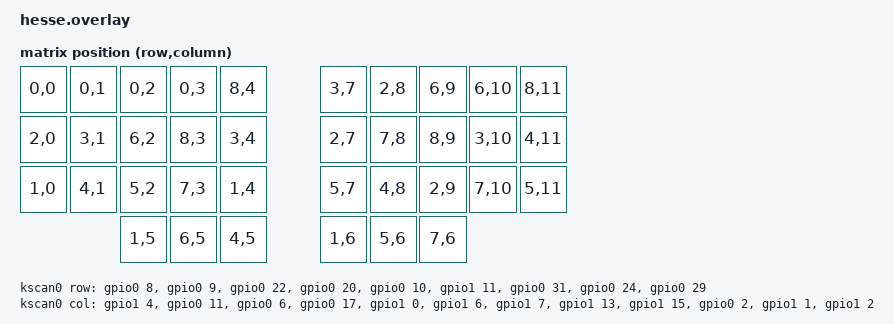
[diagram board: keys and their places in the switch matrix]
/*
 * Copyright (c) 2020 The ZMK Contributors
 *
 * SPDX-License-Identifier: MIT
 */

#include <dt-bindings/zmk/matrix_transform.h>
#include <physical_layouts.dtsi>
#include "hesse-layouts.dtsi"


/* The promicro aliases only cover D0 to D21, not the three extra pins in the middle
 *
 * Those are P1.01, P1.02, and P1.07 - referenced here via their &gpio1 names.
 */
/ {
    kscan0: kscan0 {
        compatible = "zmk,kscan-gpio-matrix";
        diode-direction = "col2row";
        wakeup-source;

        col-gpios
            = <&gpio1 4 GPIO_OPEN_SOURCE>
            , <&gpio0 11 GPIO_OPEN_SOURCE>
            , <&gpio0 6 GPIO_OPEN_SOURCE>
            , <&gpio0 17 GPIO_OPEN_SOURCE>
            , <&gpio1 0 GPIO_OPEN_SOURCE>
            , <&gpio1 6 GPIO_OPEN_SOURCE>
            , <&gpio1 7 GPIO_OPEN_SOURCE>
            , <&gpio1 13 GPIO_OPEN_SOURCE>
            , <&gpio1 15 GPIO_OPEN_SOURCE>
            , <&gpio0 2 GPIO_OPEN_SOURCE>
            , <&gpio1 1 GPIO_OPEN_SOURCE>
            , <&gpio1 2 GPIO_OPEN_SOURCE>
            ;

        row-gpios
            = <&gpio0 8 (GPIO_ACTIVE_HIGH | GPIO_PULL_DOWN)>
            , <&gpio0 9 (GPIO_ACTIVE_HIGH | GPIO_PULL_DOWN)>
            , <&gpio0 22 (GPIO_ACTIVE_HIGH | GPIO_PULL_DOWN)>
            , <&gpio0 20 (GPIO_ACTIVE_HIGH | GPIO_PULL_DOWN)>
            , <&gpio0 10 (GPIO_ACTIVE_HIGH | GPIO_PULL_DOWN)>
            , <&gpio1 11 (GPIO_ACTIVE_HIGH | GPIO_PULL_DOWN)>
            , <&gpio0 31 (GPIO_ACTIVE_HIGH | GPIO_PULL_DOWN)>
            , <&gpio0 24 (GPIO_ACTIVE_HIGH | GPIO_PULL_DOWN)>
            , <&gpio0 29 (GPIO_ACTIVE_HIGH | GPIO_PULL_DOWN)>
            ;
    };
};

/ {
    default_transform: keymap_transform0 {
        compatible = "zmk,matrix-transform";
        columns = <12>;
        rows = <9>;
        map = <
            RC(0,0) RC(0,1) RC(0,2) RC(0,3) RC(8,4) RC(3,7) RC(2,8) RC(6,9) RC(6,10) RC(8,11)
            RC(2,0) RC(3,1) RC(6,2) RC(8,3) RC(3,4) RC(2,7) RC(7,8) RC(8,9) RC(3,10) RC(4,11)
            RC(1,0) RC(4,1) RC(5,2) RC(7,3) RC(1,4) RC(5,7) RC(4,8) RC(2,9) RC(7,10) RC(5,11)
                            RC(1,5) RC(6,5) RC(4,5) RC(1,6) RC(5,6) RC(7,6)
        >;
    };
};

/ {
    physical_layout0: physical_layout_0 { // First physical layout, use different naming for other layouts
        compatible = "zmk,physical-layout";
        display-name = "Default Layout";
        kscan = <&kscan0>; // Label of the kscan node, optional if all layouts use the same
        transform = <&default_transform>; // Label of the matrix transform for this layout
    };
};

/ {
    chosen {
        zmk,physical-layout = &physical_layout0;
        // Other chosen items
    };
};

